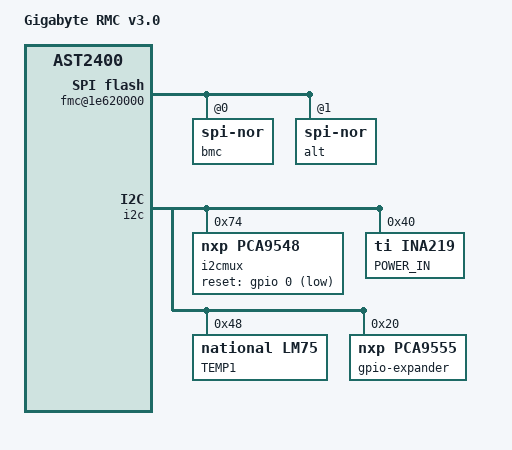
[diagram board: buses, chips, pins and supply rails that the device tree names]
/dts-v1/;

#include "ast2400.dtsi"
#include <dt-bindings/gpio/gpio.h>

/ {
	model = "Gigabyte RMC v3.0";
	compatible = "gb,rmc30", "aspeed,ast2400";

	ahb {
		mac0: ethernet@1e660000 {
			use-nc-si;
			no-hw-checksum;
		};

		fmc@1e620000 {
			reg = < 0x1e620000 0x94
				0x20000000 0x02000000
				0x24000000 0x02000000 >;
			#address-cells = <1>;
			#size-cells = <0>;
			compatible = "aspeed,fmc";
			flash@0 {
				reg = < 0 >;
				compatible = "jedec,spi-nor" ;
				label = "bmc";
				m25p,fast-read;
				/*
				 * Possibly required props:
				 * spi-max-frequency = <>
				 * spi-tx-bus-width = <>
				 * spi-rx-bus-width  = <>
				 * m25p,fast-read
				 * spi-cpol if inverse clock polarity (CPOL)
				 * spi-cpha if shifted clock phase (CPHA)
				 */
#include "aspeed-rmc-32M-flash-layout.dtsi"
			};
			flash@1 {
				reg = < 1 >;
				compatible = "jedec,spi-nor" ;
				label = "alt";
				m25p,fast-read;
				#address-cells = < 1 >;
				#size-cells = < 1 >;
				2nd {
					reg = < 0 0x02000000 >;
					label = "2nd";
				};
				/*
				 * Possibly required props:
				 * spi-max-frequency = <>
				 * spi-tx-bus-width = <>
				 * spi-rx-bus-width  = <>
				 * m25p,fast-read
				 * spi-cpol if inverse clock polarity (CPOL)
				 * spi-cpha if shifted clock phase (CPHA)
				 */
			};
		};

		apb {
			i2c: i2c@1e78a040 {
				i2c0: i2c-bus@40 {
					i2cmux@74 {
						compatible = "nxp,pca9548";
						#address-cells = <1>;
						#size-cells = <0>;
						reg = <0x74>;
						reset-gpios = <&gpio 0 GPIO_ACTIVE_LOW>;
						i2c_node1: i2c@0 {
						    #address-cells = <1>;
						    #size-cells = <0>;
						    reg = <0>;
						};
						i2c_node2: i2c@1 {
						    #address-cells = <1>;
						    #size-cells = <0>;
						    reg = <1>;
						};
						i2c_node3: i2c@2 {
						    #address-cells = <1>;
						    #size-cells = <0>;
						    reg = <2>;
						};
						i2c_node4: i2c@3 {
						    #address-cells = <1>;
						    #size-cells = <0>;
						    reg = <3>;
						};
						i2c_node5: i2c@4 {
						    #address-cells = <1>;
						    #size-cells = <0>;
						    reg = <4>;
						};
						i2c_node6: i2c@5 {
						    #address-cells = <1>;
						    #size-cells = <0>;
						    reg = <5>;
						};
						i2c_node7: i2c@6 {
						    #address-cells = <1>;
						    #size-cells = <0>;
						    reg = <6>;
						};
						i2c_node8: i2c@7 {
						    #address-cells = <1>;
						    #size-cells = <0>;
						    reg = <7>;
						};
					};
				};
				i2c2: i2c-bus@c0 {
					power {
						label = "POWER_IN";
						compatible = "ti,ina219";
						reg = <0x40>;
					};
				};
				i2c3: i2c-bus@100 {
					tmp {
						label = "TEMP1";
						compatible = "national,lm75";
						reg = <0x48>;
					};
				};
				i2c6: i2c-bus@1c0 {
					gpio-expander@20 {
						compatible = "nxp,pca9555";
						gpio-controller;
						#gpio-cells = <2>;
						reg = <0x20>;
					};
				};
			};
		};
	};
};
